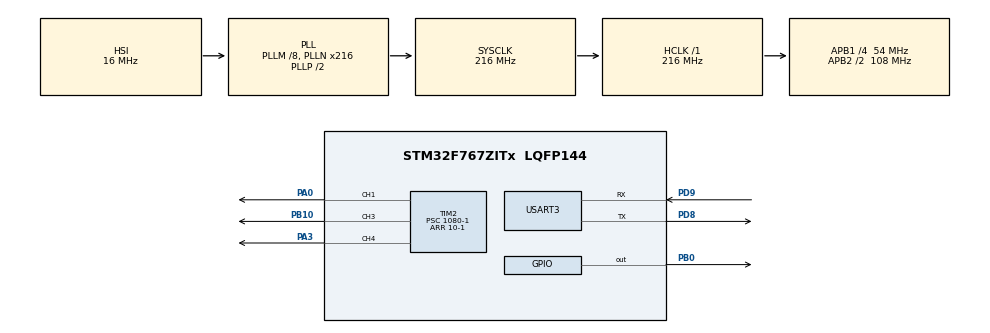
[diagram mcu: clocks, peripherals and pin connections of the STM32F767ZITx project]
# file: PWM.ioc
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Mcu.Family=STM32F7
Mcu.Name=STM32F767ZITx
Mcu.Package=LQFP144
NVIC.PriorityGroup=NVIC_PRIORITYGROUP_4
NVIC.USART3_IRQn=true\:0\:0\:false\:false\:true\:true\:true\:true
PA0/WKUP.GPIO_Speed=GPIO_SPEED_FREQ_VERY_HIGH
PA0/WKUP.Signal=S_TIM2_CH1_ETR
PA3.GPIO_Speed=GPIO_SPEED_FREQ_VERY_HIGH
PA3.Signal=S_TIM2_CH4
PB0.Signal=GPIO_Output
PB10.GPIO_Speed=GPIO_SPEED_FREQ_VERY_HIGH
PB10.Signal=S_TIM2_CH3
PD8.Mode=Asynchronous
PD8.Signal=USART3_TX
PD9.Mode=Asynchronous
PD9.Signal=USART3_RX
ProjectManager.HeapSize=0x200
ProjectManager.StackSize=0x400
ProjectManager.TargetToolchain=STM32CubeIDE
RCC.AHBFreq_Value=216000000
RCC.APB1CLKDivider=RCC_HCLK_DIV4
RCC.APB1Freq_Value=54000000
RCC.APB1TimFreq_Value=108000000
RCC.APB2CLKDivider=RCC_HCLK_DIV2
RCC.APB2Freq_Value=108000000
RCC.APB2TimFreq_Value=216000000
RCC.CortexFreq_Value=216000000
RCC.HCLKFreq_Value=216000000
RCC.HSE_VALUE=25000000
RCC.HSI_VALUE=16000000
RCC.LSE_VALUE=32768
RCC.PLLM=8
RCC.PLLN=216
RCC.SYSCLKFreq_VALUE=216000000
RCC.SYSCLKSource=RCC_SYSCLKSOURCE_PLLCLK
RCC.USBFreq_Value=216000000
RCC.VCOOutputFreq_Value=432000000
SH.S_TIM2_CH1_ETR.0=TIM2_CH1,PWM Generation1 CH1
SH.S_TIM2_CH3.0=TIM2_CH3,PWM Generation3 CH3
SH.S_TIM2_CH4.0=TIM2_CH4,PWM Generation4 CH4
TIM2.Channel-PWM\ Generation1\ CH1=TIM_CHANNEL_1
TIM2.Channel-PWM\ Generation3\ CH3=TIM_CHANNEL_3
TIM2.Channel-PWM\ Generation4\ CH4=TIM_CHANNEL_4
TIM2.Period=10-1
TIM2.Prescaler=1080-1
TIM2.Pulse-PWM\ Generation3\ CH3=0
USART3.VirtualMode-Asynchronous=VM_ASYNC
VP_TIM2_VS_ClockSourceINT.Mode=Internal
board=custom

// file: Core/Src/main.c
/* USER CODE BEGIN Header */
/**
  ******************************************************************************
  * @file           : main.c
  * @brief          : Main program body
  ******************************************************************************
  * @attention
  *
  * Copyright (c) 2023 STMicroelectronics.
  * All rights reserved.
  *
  * This software is licensed under terms that can be found in the LICENSE file
  * in the root directory of this software component.
  * If no LICENSE file comes with this software, it is provided AS-IS.
  *
  ******************************************************************************
  */
/* USER CODE END Header */
#include "main.h"
#include "tim.h"
#include "usart.h"
#include "gpio.h"

/* USER CODE BEGIN PV */
uint8_t pwmR;
uint8_t pwmG;
uint8_t pwmB;
float dutyCycleR = 0;
float dutyCycleG = 0;
float dutyCycleB = 0;
char ch;
/* USER CODE END PV */

void SystemClock_Config(void);
static void MPU_Initialize(void);
static void MPU_Config(void);

int main(void)
{

  /* MCU Configuration--------------------------------------------------------*/

  /* Reset of all peripherals, Initializes the Flash interface and the Systick. */
  HAL_Init();

  /* MPU Configuration--------------------------------------------------------*/
  MPU_Config();

  /* Configure the system clock */
  SystemClock_Config();

  /* Initialize all configured peripherals */
  MX_GPIO_Init();
  MX_TIM2_Init();
  MX_USART3_UART_Init();
  /* USER CODE BEGIN 2 */
  HAL_TIM_PWM_Start(&htim2, TIM_CHANNEL_1);
  HAL_TIM_PWM_Start(&htim2, TIM_CHANNEL_3);
  HAL_TIM_PWM_Start(&htim2, TIM_CHANNEL_4);
  HAL_UART_Receive_IT(&huart3,(uint8_t*)&ch,1);
  /* USER CODE END 2 */

  /* Infinite loop */
  while (1)
  {

    /* USER CODE BEGIN 3 */
	  htim2.Instance -> CCR1 = (10-1) * dutyCycleR;
	  htim2.Instance -> CCR3 = (10-1) * dutyCycleG;
	  htim2.Instance -> CCR4 = (10-1) * dutyCycleB;

//	  HAL_Delay(100);
//	  HAL_TIM_PWM_Stop(&htim2, TIM_CHANNEL_3);
	  pwmR = (GPIOA->IDR & GPIO_PIN_3) >> 3;
	  pwmG = (GPIOB->IDR & GPIO_PIN_10) >> 10;
	  pwmB = (GPIOA->IDR & GPIO_PIN_0) >> 0;
  }
  /* USER CODE END 3 */
}

void SystemClock_Config(void)
{
  RCC_OscInitTypeDef RCC_OscInitStruct = {0};
  RCC_ClkInitTypeDef RCC_ClkInitStruct = {0};

  /** Configure the main internal regulator output voltage
  */
  __HAL_RCC_PWR_CLK_ENABLE();
  __HAL_PWR_VOLTAGESCALING_CONFIG(PWR_REGULATOR_VOLTAGE_SCALE1);

  /** Initializes the RCC Oscillators according to the specified parameters
  * in the RCC_OscInitTypeDef structure.
  */
  RCC_OscInitStruct.OscillatorType = RCC_OSCILLATORTYPE_HSI;
  RCC_OscInitStruct.HSIState = RCC_HSI_ON;
  RCC_OscInitStruct.HSICalibrationValue = RCC_HSICALIBRATION_DEFAULT;
  RCC_OscInitStruct.PLL.PLLState = RCC_PLL_ON;
  RCC_OscInitStruct.PLL.PLLSource = RCC_PLLSOURCE_HSI;
  RCC_OscInitStruct.PLL.PLLM = 8;
  RCC_OscInitStruct.PLL.PLLN = 216;
  RCC_OscInitStruct.PLL.PLLP = RCC_PLLP_DIV2;
  RCC_OscInitStruct.PLL.PLLQ = 2;
  RCC_OscInitStruct.PLL.PLLR = 2;
  if (HAL_RCC_OscConfig(&RCC_OscInitStruct) != HAL_OK)
  {
    Error_Handler();
  }

  /** Activate the Over-Drive mode
  */
  if (HAL_PWREx_EnableOverDrive() != HAL_OK)
  {
    Error_Handler();
  }

  /** Initializes the CPU, AHB and APB buses clocks
  */
  RCC_ClkInitStruct.ClockType = RCC_CLOCKTYPE_HCLK|RCC_CLOCKTYPE_SYSCLK
                              |RCC_CLOCKTYPE_PCLK1|RCC_CLOCKTYPE_PCLK2;
  RCC_ClkInitStruct.SYSCLKSource = RCC_SYSCLKSOURCE_PLLCLK;
  RCC_ClkInitStruct.AHBCLKDivider = RCC_SYSCLK_DIV1;
  RCC_ClkInitStruct.APB1CLKDivider = RCC_HCLK_DIV4;
  RCC_ClkInitStruct.APB2CLKDivider = RCC_HCLK_DIV2;

  if (HAL_RCC_ClockConfig(&RCC_ClkInitStruct, FLASH_LATENCY_7) != HAL_OK)
  {
    Error_Handler();
  }
}

/* USER CODE BEGIN 4 */
void HAL_UART_RxCpltCallback(UART_HandleTypeDef *huart){
	if(huart==&huart3){
		HAL_UART_Receive_IT(&huart3,(uint8_t*)&ch,1);
		while(__HAL_UART_GET_FLAG(&huart3,UART_FLAG_TC)==RESET){}
		HAL_UART_Transmit(&huart3, (uint8_t*)&ch, 1, 1000);
		if(ch=='r'){
			dutyCycleR += 0.2;
			if(dutyCycleR > 1){
				dutyCycleR = 0;
			}
		}
		else if(ch=='g'){
			dutyCycleG += 0.2;
			if(dutyCycleG > 1){
				dutyCycleG = 0;
			}
		}
		else if(ch=='b'){
			dutyCycleB += 0.2;
			if(dutyCycleB > 1){
				dutyCycleB = 0;
			}
		}
	}
}
/* USER CODE END 4 */

/* MPU Configuration */

void MPU_Config(void)
{
  MPU_Region_InitTypeDef MPU_InitStruct = {0};

  /* Disables the MPU */
  HAL_MPU_Disable();

  /** Initializes and configures the Region and the memory to be protected
  */
  MPU_InitStruct.Enable = MPU_REGION_ENABLE;
  MPU_InitStruct.Number = MPU_REGION_NUMBER0;
  MPU_InitStruct.BaseAddress = 0x0;
  MPU_InitStruct.Size = MPU_REGION_SIZE_4GB;
  MPU_InitStruct.SubRegionDisable = 0x87;
  MPU_InitStruct.TypeExtField = MPU_TEX_LEVEL0;
  MPU_InitStruct.AccessPermission = MPU_REGION_NO_ACCESS;
  MPU_InitStruct.DisableExec = MPU_INSTRUCTION_ACCESS_DISABLE;
  MPU_InitStruct.IsShareable = MPU_ACCESS_SHAREABLE;
  MPU_InitStruct.IsCacheable = MPU_ACCESS_NOT_CACHEABLE;
  MPU_InitStruct.IsBufferable = MPU_ACCESS_NOT_BUFFERABLE;

  HAL_MPU_ConfigRegion(&MPU_InitStruct);
  /* Enables the MPU */
  HAL_MPU_Enable(MPU_PRIVILEGED_DEFAULT);

}

void Error_Handler(void)
{
  __disable_irq();
  while (1)
  {
  }
}
